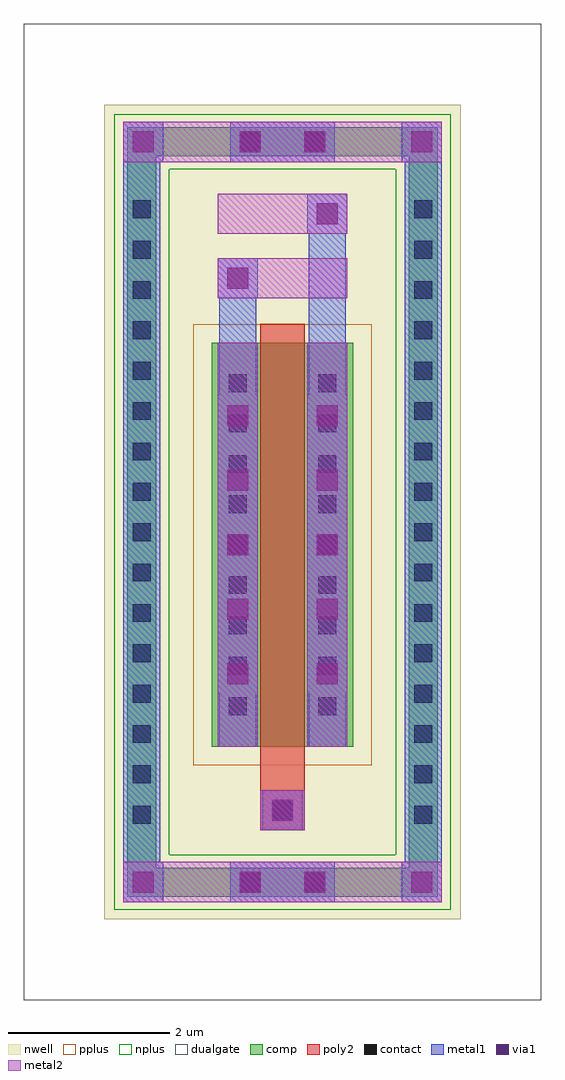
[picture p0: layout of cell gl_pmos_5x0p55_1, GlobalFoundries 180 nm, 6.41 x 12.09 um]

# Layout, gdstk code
import gdstk
lib = gdstk.Library(unit=1e-6, precision=1e-09)
def R(c, l, rs):  # rectangles x0, y0, x1, y1
    for r in rs: c.add(gdstk.rectangle(r[:2], r[2:], *l))
def A(c, l, x, y, w, h, nx, ny, dx, dy):  # array of equal rectangles
    R(c, l, [(x+i*dx, y+j*dy, x+i*dx+w, y+j*dy+h) for i in range(nx) for j in range(ny)])
def P(c, l, *ps):  # polygons
    for p in ps: c.add(gdstk.Polygon(p, *l))
nwell = (21, 0)
comp = (22, 0)
poly2 = (30, 0)
pplus = (31, 0)
nplus = (32, 0)
contact = (33, 0)
metal1 = (34, 0)
via1 = (35, 0)
metal2 = (36, 0)
dualgate = (55, 0)

gl_pmos_5x0p55_1 = lib.new_cell('gl_pmos_5x0p55_1')
R(gl_pmos_5x0p55_1, nwell, [(-2.205,-5.045,2.205,5.045), (-2.045,-4.885,2.045,4.885)])
A(gl_pmos_5x0p55_1, comp, -1.925, -3.93, 0.36, 0.36, 1, 16, 0, 0.5)
A(gl_pmos_5x0p55_1, comp, 1.565, -3.93, 0.36, 0.36, 1, 16, 0, 0.5)
R(gl_pmos_5x0p55_1, comp, [(-0.58,-4.765,-0.22,-4.405), (-0.58,-4.765,0.58,-4.405), (0.22,-4.765,0.58,-4.405), (-1.925,-3.93,-1.565,3.93), (1.565,-3.93,1.925,3.93), (-0.875,-2.905,0.875,2.095), (-0.58,4.405,-0.22,4.765), (-0.58,4.405,0.58,4.765), (0.22,4.405,0.58,4.765)])
P(gl_pmos_5x0p55_1, comp, [(-1.925,-4.765),(-1.925,-4.405),(-1.565,-4.405),(1.565,-4.405),(1.565,4.405),(-1.565,4.405),(-1.565,-4.405),(-1.925,-4.405),(-1.925,4.765),(1.925,4.765),(1.925,-4.765)])
R(gl_pmos_5x0p55_1, poly2, [(-0.275,-3.945,0.275,-3.445), (-0.18,-3.875,0.18,-3.515), (-0.275,-3.445,0.275,-3.145), (-0.275,-3.145,0.275,2.335)])
R(gl_pmos_5x0p55_1, pplus, [(-1.105,-3.135,1.105,2.325)])
P(gl_pmos_5x0p55_1, nplus, [(-2.085,-4.925),(-2.085,-4.245),(-1.405,-4.245),(1.405,-4.245),(1.405,4.245),(-1.405,4.245),(-1.405,-4.245),(-2.085,-4.245),(-2.085,4.925),(2.085,4.925),(2.085,-4.925)])
A(gl_pmos_5x0p55_1, contact, -1.855, -3.86, 0.22, 0.22, 1, 16, 0, 0.5)
A(gl_pmos_5x0p55_1, contact, 1.635, -3.86, 0.22, 0.22, 1, 16, 0, 0.5)
A(gl_pmos_5x0p55_1, contact, -0.665, -2.515, 0.22, 0.22, 1, 9, 0, 0.5)
A(gl_pmos_5x0p55_1, contact, 0.445, -2.515, 0.22, 0.22, 1, 9, 0, 0.5)
R(gl_pmos_5x0p55_1, contact, [(-0.51,-4.695,-0.29,-4.475), (0.29,-4.695,0.51,-4.475), (-0.11,-3.805,0.11,-3.585), (-0.51,4.475,-0.29,4.695), (0.29,4.475,0.51,4.695)])
A(gl_pmos_5x0p55_1, metal1, -1.975, -3.98, 0.46, 0.46, 1, 16, 0, 0.5)
A(gl_pmos_5x0p55_1, metal1, 1.515, -3.98, 0.46, 0.46, 1, 16, 0, 0.5)
A(gl_pmos_5x0p55_1, metal1, -0.785, -2.635, 0.46, 0.46, 1, 9, 0, 0.5)
A(gl_pmos_5x0p55_1, metal1, 0.325, -2.635, 0.46, 0.46, 1, 9, 0, 0.5)
A(gl_pmos_5x0p55_1, metal1, -0.805, -2.255, 0.5, 0.5, 1, 5, 0, 0.8)
A(gl_pmos_5x0p55_1, metal1, 0.305, -2.255, 0.5, 0.5, 1, 5, 0, 0.8)
R(gl_pmos_5x0p55_1, metal1, [(-1.975,-4.835,-1.475,-4.335), (-1.975,-4.835,-1.475,-4.335), (-1.975,-4.835,-1.515,-4.405), (-0.65,-4.835,-0.15,-4.335), (-0.65,-4.835,0.65,-4.335), (0.15,-4.835,0.65,-4.335), (1.475,-4.835,1.975,-4.335), (1.475,-4.835,1.975,-4.335), (1.515,-4.835,1.975,-4.405), (-1.975,-4.405,-1.515,4.405), (1.515,-4.405,1.975,4.405), (-0.25,-3.945,0.25,-3.445), (-0.785,-2.905,-0.325,2.095), (0.325,-2.905,0.785,2.095), (-0.805,-2.255,-0.305,1.445), (0.305,-2.255,0.805,1.445), (-0.785,2.095,-0.325,3.145), (0.325,2.095,0.785,3.945), (-0.805,2.645,-0.305,3.145), (0.305,3.445,0.805,3.945), (-1.975,4.335,-1.475,4.835), (-1.975,4.335,-1.475,4.835), (-0.65,4.335,-0.15,4.835), (-0.65,4.335,0.65,4.835), (0.15,4.335,0.65,4.835), (1.475,4.335,1.975,4.835), (1.475,4.335,1.975,4.835), (-1.975,4.405,-1.515,4.835), (1.515,4.405,1.975,4.835)])
A(gl_pmos_5x0p55_1, via1, -0.685, -2.135, 0.26, 0.26, 1, 5, 0, 0.8)
A(gl_pmos_5x0p55_1, via1, 0.425, -2.135, 0.26, 0.26, 1, 5, 0, 0.8)
R(gl_pmos_5x0p55_1, via1, [(-1.855,-4.715,-1.595,-4.455), (-0.53,-4.715,-0.27,-4.455), (0.27,-4.715,0.53,-4.455), (1.595,-4.715,1.855,-4.455), (-0.13,-3.825,0.13,-3.565), (-0.685,2.765,-0.425,3.025), (0.425,3.565,0.685,3.825), (-1.855,4.455,-1.595,4.715), (-0.53,4.455,-0.27,4.715), (0.27,4.455,0.53,4.715), (1.595,4.455,1.855,4.715)])
A(gl_pmos_5x0p55_1, metal2, -0.805, -2.255, 0.5, 0.5, 1, 5, 0, 0.8)
A(gl_pmos_5x0p55_1, metal2, 0.305, -2.255, 0.5, 0.5, 1, 5, 0, 0.8)
R(gl_pmos_5x0p55_1, metal2, [(-1.975,-4.835,-1.475,-4.335), (-1.975,-4.835,-1.475,-4.335), (-1.975,-4.835,-1.565,-4.335), (-1.565,-4.835,1.565,-4.335), (-0.65,-4.835,-0.15,-4.335), (0.15,-4.835,0.65,-4.335), (1.475,-4.835,1.975,-4.335), (1.475,-4.835,1.975,-4.335), (1.565,-4.835,1.975,-4.335), (-0.275,-3.945,0.275,-3.445), (-0.25,-3.945,0.25,-3.445), (-0.805,-2.905,-0.305,2.095), (0.305,-2.905,0.805,2.095), (-0.805,2.645,-0.305,3.145), (-0.805,2.645,0.805,3.145), (-0.805,3.445,0.805,3.945), (0.305,3.445,0.805,3.945), (-1.975,4.335,-1.475,4.835), (-1.975,4.335,-1.475,4.835), (-1.975,4.335,-1.565,4.835), (-1.565,4.335,1.565,4.835), (-0.65,4.335,-0.15,4.835), (0.15,4.335,0.65,4.835), (1.475,4.335,1.975,4.835), (1.475,4.335,1.975,4.835), (1.565,4.335,1.975,4.835)])
R(gl_pmos_5x0p55_1, dualgate, [(-3.205,-6.045,3.205,6.045)])

lib.write_gds('gl_pmos_5x0p55_1.gds')
